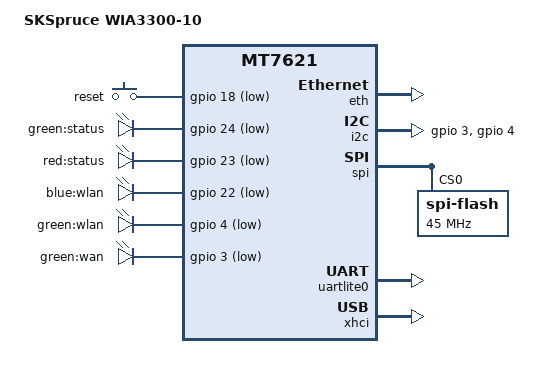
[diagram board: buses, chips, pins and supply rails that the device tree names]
// SPDX-License-Identifier: GPL-2.0+

/dts-v1/;
#include "mt7621.dtsi"

#include <dt-bindings/gpio/gpio.h>
#include <dt-bindings/input/input.h>

/ {
	model = "SKSpruce WIA3300-10";
	compatible = "skspruce,wia3300-10", "mediatek,mt7621-soc";

	aliases {
		spi0 = &spi;
	};

	chosen {
		stdout-path = &uartlite0;
	};

	config {
		reset-button = "reset";
		status1-led = "green:status";
		status2-led = "red:status";
	};

	keys {
		compatible = "gpio-keys";

		reset {
			label = "reset";
			gpios = <&gpio 18 GPIO_ACTIVE_LOW>;
			linux,code = <KEY_RESTART>;
		};
	};

	leds {
		compatible = "gpio-leds";

		led-status_green {
			label = "green:status";
			gpios = <&gpio 24 GPIO_ACTIVE_LOW>;
			default-state = "on";
		};

		led-status_red {
			label = "red:status";
			gpios = <&gpio 23 GPIO_ACTIVE_LOW>;
			default-state = "off";
		};

		led-wlan_blue {
			label = "blue:wlan";
			gpios = <&gpio 22 GPIO_ACTIVE_LOW>;
			default-state = "off";
		};

		led-wlan_green {
			label = "green:wlan";
			gpios = <&gpio 4 GPIO_ACTIVE_LOW>;
			default-state = "off";
		};

		led-wan {
			label = "green:wan";
			gpios = <&gpio 3 GPIO_ACTIVE_LOW>;
			default-state = "off";
		};
	};
};

&eth {
	status = "okay";
};

&gpio {
	status = "okay";
};

&i2c {
	gpios = <&gpio 3 1>, /* PIN3 as SDA */
		<&gpio 4 1>; /* PIN4 as CLK */
};

&spi {
	status = "okay";

	spi-max-frequency = <45000000>;

	spi-flash@0 {
		#address-cells = <1>;
		#size-cells = <1>;
		compatible = "spi-flash";
		spi-max-frequency = <45000000>;
		reg = <0>;
	};
};

&state_default {
	/delete-node/ spi-nand_pins;
	/delete-node/ sdhci-nand_pins;
	/delete-node/ rgmii2_pins;
};

&uartlite0 {
	status = "okay";
};

&xhci {
	status = "okay";
};
